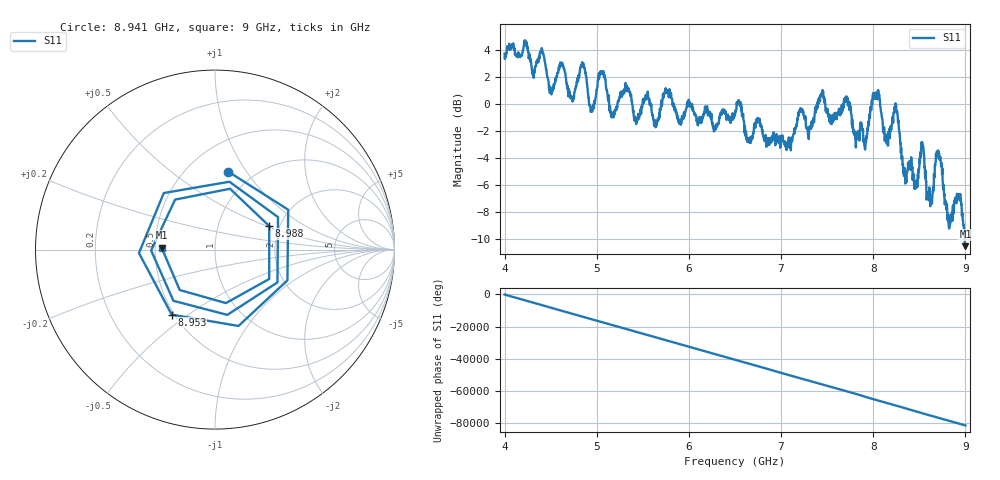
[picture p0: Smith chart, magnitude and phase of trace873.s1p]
! Created with skrf 1.8.0 (http://scikit-rf.org).
# Hz S RI R 50.0
!freq ReS11 ImS11
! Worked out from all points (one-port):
!   1601 points, 4 GHz to 9 GHz, reference 50 ohm
!   lowest |S11| = -10.5 dB at 9 GHz (marker M1), VSWR 1.85, Z = 27 + j0.675 ohm
!   |S11| at or under -10 dB: 8.993042 GHz to end of sweep
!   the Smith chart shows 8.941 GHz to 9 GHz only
!   S11 on the Smith chart (normalised r, x): 8.941 GHz: 0.77, +0.83; 8.953 GHz: 0.48, -0.43; 8.988 GHz: 1.77, +0.52; 9 GHz: 0.54, +0.01
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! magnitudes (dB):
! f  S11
! 4 GHz  3.7
! 4.406 GHz  4.0
! 4.506 GHz  0.8
! 4.625 GHz  3.0
! 4.728 GHz  0.4
! 4.844 GHz  2.8
! 4.944 GHz  -0.3
! 5.047 GHz  2.3
! 5.162 GHz  -1.0
! 5.25 GHz  0.6
! 5.875 GHz  -0.8
! 6.5 GHz  -0.8
! 7.125 GHz  -2.5
! 7.434 GHz  0.7
! 7.75 GHz  -0.4
! 7.909 GHz  -3.3
! 8.019 GHz  0.8
! 8.147 GHz  -2.7
! 8.244 GHz  -0.4
! 8.375 GHz  -4.9
! 8.534 GHz  -3.0
! 8.619 GHz  -7.6
! 8.706 GHz  -3.4
! 8.819 GHz  -9.0
! 8.941 GHz  -7.1
! 8.953 GHz  -7.2
! 8.988 GHz  -9.6
! 9 GHz  -10.5
